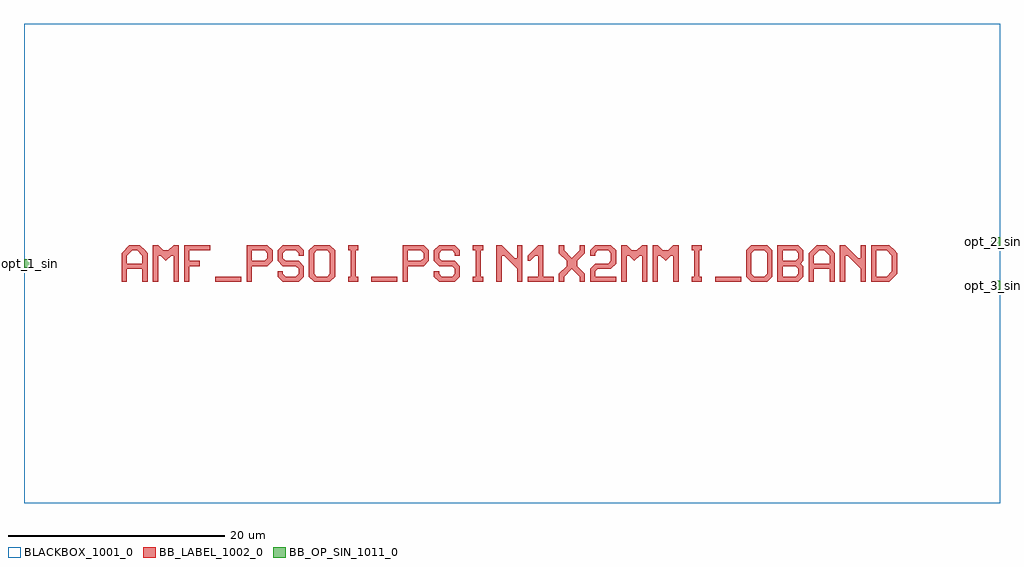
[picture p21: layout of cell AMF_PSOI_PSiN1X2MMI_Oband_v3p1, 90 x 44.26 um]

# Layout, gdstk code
import gdstk
lib = gdstk.Library(unit=1e-6, precision=1e-09)
def R(c, l, rs):  # rectangles x0, y0, x1, y1
    for r in rs: c.add(gdstk.rectangle(r[:2], r[2:], *l))
def P(c, l, *ps):  # polygons
    for p in ps: c.add(gdstk.Polygon(p, *l))
BLACKBOX_1001_0 = (1001, 0)
BB_LABEL_1002_0 = (1002, 0)
BB_OP_SIN_1011_0 = (1011, 0)

amf_psoi_psin1x2mmi_oban = lib.new_cell('AMF_PSOI_PSiN1X2MMI_Oband_v3p1')
R(amf_psoi_psin1x2mmi_oban, BLACKBOX_1001_0, [(0,-22.13,90,22.13)])
R(amf_psoi_psin1x2mmi_oban, BB_LABEL_1002_0, [(17.64,-1.68,20.04,-1.2), (32.04,-1.68,34.44,-1.2), (63.72,-1.68,66.12,-1.2)])
P(amf_psoi_psin1x2mmi_oban, BB_LABEL_1002_0, [(9,-1.68),(9,0.96),(9.72,1.68),(10.68,1.68),(11.16,1.2),(9.96,1.2),(9.48,0.72),(9.48,0),(10.92,0),(10.92,0.72),(10.44,1.2),(11.16,1.2),(11.4,0.96),(11.4,-1.68),(10.92,-1.68),(10.92,-0.48),(9.48,-0.48),(9.48,-1.68)],
  [(11.88,-1.68),(11.88,1.68),(12.36,1.68),(12.84,1.2),(13.32,1.2),(13.8,1.68),(14.28,1.68),(14.28,-1.68),(13.8,-1.68),(13.8,0.72),(13.56,0.72),(13.08,0.24),(12.6,0.72),(12.36,0.72),(12.36,-1.68)],
  [(14.76,-1.68),(14.76,1.68),(17.16,1.68),(17.16,1.2),(15.24,1.2),(15.24,0.24),(16.2,0.24),(16.2,-0.24),(15.24,-0.24),(15.24,-1.68)],
  [(20.52,-1.68),(20.52,1.68),(22.44,1.68),(22.92,1.2),(22.92,0.24),(22.44,-0.24),(21,-0.24),(21,0.24),(22.2,0.24),(22.44,0.48),(22.44,0.96),(22.2,1.2),(21,1.2),(21,-1.68)],
  [(23.88,-1.68),(23.4,-1.2),(23.4,-0.72),(23.88,-0.72),(23.88,-0.96),(24.12,-1.2),(25.08,-1.2),(25.32,-0.96),(25.32,-0.48),(25.08,-0.24),(23.88,-0.24),(23.4,0.24),(23.4,1.2),(23.88,1.68),(25.32,1.68),(25.8,1.2),(25.8,0.72),(25.32,0.72),(25.32,0.96),(25.08,1.2),(24.12,1.2),(23.88,0.96),(23.88,0.48),(24.12,0.24),(25.32,0.24),(25.8,-0.24),(25.8,-1.2),(25.32,-1.68)],
  [(26.76,-1.68),(26.28,-1.2),(26.28,1.2),(26.76,1.68),(28.2,1.68),(28.68,1.2),(28.68,0),(28.2,0),(28.2,0.96),(27.96,1.2),(27,1.2),(26.76,0.96),(26.76,-0.96),(27,-1.2),(27.96,-1.2),(28.2,-0.96),(28.2,0),(28.68,0),(28.68,-1.2),(28.2,-1.68)],
  [(29.88,-1.68),(29.88,-1.2),(30.12,-1.2),(30.12,1.2),(29.88,1.2),(29.88,1.68),(30.84,1.68),(30.84,1.2),(30.6,1.2),(30.6,-1.2),(30.84,-1.2),(30.84,-1.68)],
  [(34.92,-1.68),(34.92,1.68),(36.84,1.68),(37.32,1.2),(37.32,0.24),(36.84,-0.24),(35.4,-0.24),(35.4,0.24),(36.6,0.24),(36.84,0.48),(36.84,0.96),(36.6,1.2),(35.4,1.2),(35.4,-1.68)],
  [(38.28,-1.68),(37.8,-1.2),(37.8,-0.72),(38.28,-0.72),(38.28,-0.96),(38.52,-1.2),(39.48,-1.2),(39.72,-0.96),(39.72,-0.48),(39.48,-0.24),(38.28,-0.24),(37.8,0.24),(37.8,1.2),(38.28,1.68),(39.72,1.68),(40.2,1.2),(40.2,0.72),(39.72,0.72),(39.72,0.96),(39.48,1.2),(38.52,1.2),(38.28,0.96),(38.28,0.48),(38.52,0.24),(39.72,0.24),(40.2,-0.24),(40.2,-1.2),(39.72,-1.68)],
  [(41.4,-1.68),(41.4,-1.2),(41.64,-1.2),(41.64,1.2),(41.4,1.2),(41.4,1.68),(42.36,1.68),(42.36,1.2),(42.12,1.2),(42.12,-1.2),(42.36,-1.2),(42.36,-1.68)],
  [(43.56,-1.68),(43.56,1.68),(44.04,1.68),(45.24,0.48),(45.48,0.48),(45.48,1.68),(45.96,1.68),(45.96,-1.68),(45.48,-1.68),(45.48,-0.48),(44.28,0.72),(44.04,0.72),(44.04,-1.68)],
  [(46.44,-1.68),(46.44,-1.2),(47.4,-1.2),(47.4,0.72),(47.16,0.72),(46.68,0.24),(46.44,0.24),(46.44,0.72),(47.4,1.68),(47.88,1.68),(47.88,-1.2),(48.84,-1.2),(48.84,-1.68)],
  [(49.32,-1.68),(49.32,-0.96),(50.04,-0.24),(50.04,0.24),(49.32,0.96),(49.32,1.68),(49.8,1.68),(49.8,1.2),(50.52,0.48),(51.24,1.2),(51.24,1.68),(51.72,1.68),(51.72,0.96),(51,0.24),(51,-0.24),(51.72,-0.96),(51.72,-1.68),(51.24,-1.68),(51.24,-1.2),(50.52,-0.48),(49.8,-1.2),(49.8,-1.68)],
  [(52.2,-1.68),(52.2,-0.48),(52.68,0),(53.88,0),(54.12,0.24),(54.12,0.96),(53.88,1.2),(52.92,1.2),(52.68,0.96),(52.68,0.72),(52.2,0.72),(52.2,1.2),(52.68,1.68),(54.12,1.68),(54.6,1.2),(54.6,0),(54.12,-0.48),(52.92,-0.48),(52.68,-0.72),(52.68,-1.2),(54.6,-1.2),(54.6,-1.68)],
  [(55.08,-1.68),(55.08,1.68),(55.56,1.68),(56.04,1.2),(56.52,1.2),(57,1.68),(57.48,1.68),(57.48,-1.68),(57,-1.68),(57,0.72),(56.76,0.72),(56.28,0.24),(55.8,0.72),(55.56,0.72),(55.56,-1.68)],
  [(57.96,-1.68),(57.96,1.68),(58.44,1.68),(58.92,1.2),(59.4,1.2),(59.88,1.68),(60.36,1.68),(60.36,-1.68),(59.88,-1.68),(59.88,0.72),(59.64,0.72),(59.16,0.24),(58.68,0.72),(58.44,0.72),(58.44,-1.68)],
  [(61.56,-1.68),(61.56,-1.2),(61.8,-1.2),(61.8,1.2),(61.56,1.2),(61.56,1.68),(62.52,1.68),(62.52,1.2),(62.28,1.2),(62.28,-1.2),(62.52,-1.2),(62.52,-1.68)],
  [(67.08,-1.68),(66.6,-1.2),(66.6,1.2),(67.08,1.68),(68.52,1.68),(69,1.2),(69,0),(68.52,0),(68.52,0.96),(68.28,1.2),(67.32,1.2),(67.08,0.96),(67.08,-0.96),(67.32,-1.2),(68.28,-1.2),(68.52,-0.96),(68.52,0),(69,0),(69,-1.2),(68.52,-1.68)],
  [(69.48,-1.68),(69.48,1.68),(71.4,1.68),(71.88,1.2),(69.96,1.2),(69.96,0.24),(71.16,0.24),(71.4,0.48),(71.4,0.96),(71.16,1.2),(71.88,1.2),(71.88,0.24),(71.64,0),(71.88,-0.24),(69.96,-0.24),(69.96,-1.2),(71.16,-1.2),(71.4,-0.96),(71.4,-0.48),(71.16,-0.24),(71.88,-0.24),(71.88,-1.2),(71.4,-1.68)],
  [(72.36,-1.68),(72.36,0.96),(73.08,1.68),(74.04,1.68),(74.52,1.2),(73.32,1.2),(72.84,0.72),(72.84,0),(74.28,0),(74.28,0.72),(73.8,1.2),(74.52,1.2),(74.76,0.96),(74.76,-1.68),(74.28,-1.68),(74.28,-0.48),(72.84,-0.48),(72.84,-1.68)],
  [(75.24,-1.68),(75.24,1.68),(75.72,1.68),(76.92,0.48),(77.16,0.48),(77.16,1.68),(77.64,1.68),(77.64,-1.68),(77.16,-1.68),(77.16,-0.48),(75.96,0.72),(75.72,0.72),(75.72,-1.68)],
  [(78.12,-1.68),(78.12,1.68),(79.8,1.68),(80.28,1.2),(78.6,1.2),(78.6,-1.2),(79.56,-1.2),(80.04,-0.72),(80.04,0.72),(79.56,1.2),(80.28,1.2),(80.52,0.96),(80.52,-0.96),(79.8,-1.68)])
R(amf_psoi_psin1x2mmi_oban, BB_OP_SIN_1011_0, [(89.2,-2.4,90,-1.6), (0,-0.4,0.8,0.4), (89.2,1.6,90,2.4)])
amf_psoi_psin1x2mmi_oban.add(gdstk.Label('opt_2_sin', (90,2), layer=1011, texttype=0))
amf_psoi_psin1x2mmi_oban.add(gdstk.Label('opt_3_sin', (90,-2), layer=1011, texttype=0))
amf_psoi_psin1x2mmi_oban.add(gdstk.Label('opt_1_sin', (0,0), layer=1011, texttype=0))

lib.write_gds('AMF_PSOI_PSiN1X2MMI_Oband_v3p1.gds')
